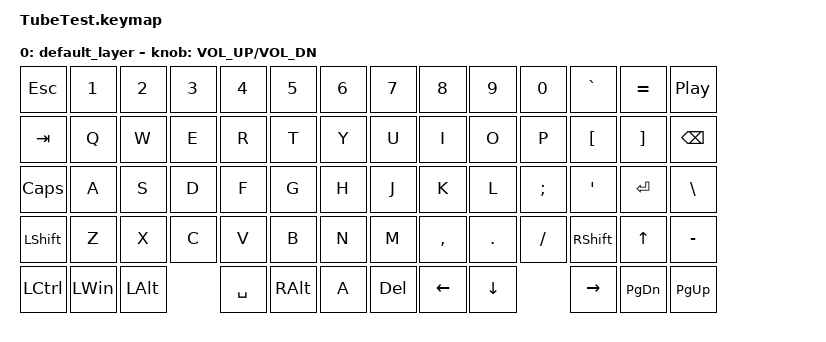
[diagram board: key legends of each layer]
#include <behaviors.dtsi>
#include <dt-bindings/zmk/keys.h>
#include <dt-bindings/zmk/bt.h>
#define URL_1 "https://bhs-vic.compass.education/"

#
/ 
{
    keymap 
    {
        compatible = "zmk,keymap";        

        default_layer 
        {
            bindings = <
            &kp ESC       &kp N1        &kp N2   &kp N3    &kp N4    &kp N5   &kp N6  &kp N7  &kp N8     &kp N9      &kp N0         &kp GRAVE   &kp EQUAL  &kp C_PP
            &kp TAB       &kp Q         &kp W    &kp E     &kp R     &kp T    &kp Y   &kp U   &kp I      &kp O       &kp P          &kp LBKT    &kp RBKT   &kp BSPC
            &kp CAPSLOCK  &kp A         &kp S    &kp D     &kp F     &kp G    &kp H   &kp J   &kp K      &kp L       &kp SEMICOLON  &kp SQT     &kp ENTER  &kp BSLH
            &kp LSHIFT    &kp Z         &kp X    &kp C     &kp V     &kp B    &kp N   &kp M   &kp COMMA  &kp PERIOD  &kp SLASH      &kp RSHIFT  &kp UP     &kp MINUS
            &kp LCTRL     &kp LEFT_WIN  &kp LALT           &kp SPACE &kp RALT &kp A   &kp DEL &kp LEFT   &kp DOWN                   &kp RIGHT   &kp PG_DN  &kp PG_UP
            >;

            sensor-bindings = <&inc_dec_kp C_VOL_UP C_VOL_DN>;
        };
    };
};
